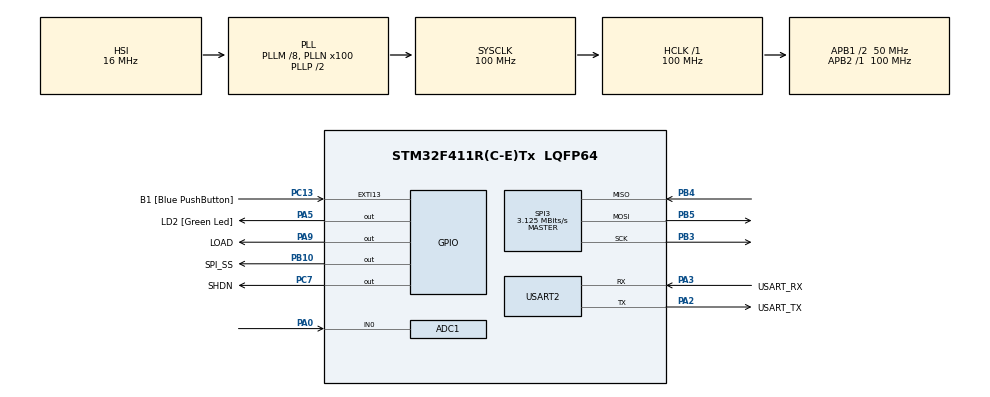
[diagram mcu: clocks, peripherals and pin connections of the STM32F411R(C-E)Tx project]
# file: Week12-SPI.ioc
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ADC1.Channel-0\#ChannelRegularConversion=ADC_CHANNEL_0
ADC1.Channel-1\#ChannelInjectedConversion=ADC_CHANNEL_0
ADC1.DMAContinuousRequests=ENABLE
ADC1.ExternalTrigConv=ADC_EXTERNALTRIGCONV_T3_TRGO
ADC1.InjNumberOfConversion=1
ADC1.InjectedOffset-1\#ChannelInjectedConversion=0
ADC1.InjectedRank-1\#ChannelInjectedConversion=1
ADC1.NbrOfConversionFlag=1
ADC1.Rank-0\#ChannelRegularConversion=1
ADC1.SamplingTime-0\#ChannelRegularConversion=ADC_SAMPLETIME_3CYCLES
ADC1.SamplingTime-1\#ChannelInjectedConversion=ADC_SAMPLETIME_3CYCLES
ADC1.ScanConvMode=ENABLE
ADC1.master=1
Dma.ADC1.0.Direction=DMA_PERIPH_TO_MEMORY
Dma.ADC1.0.FIFOMode=DMA_FIFOMODE_DISABLE
Dma.ADC1.0.Instance=DMA2_Stream0
Dma.ADC1.0.MemDataAlignment=DMA_MDATAALIGN_HALFWORD
Dma.ADC1.0.MemInc=DMA_MINC_ENABLE
Dma.ADC1.0.Mode=DMA_CIRCULAR
Dma.ADC1.0.PeriphDataAlignment=DMA_PDATAALIGN_HALFWORD
Dma.ADC1.0.PeriphInc=DMA_PINC_DISABLE
Dma.ADC1.0.Priority=DMA_PRIORITY_LOW
Dma.Request0=ADC1
Mcu.Family=STM32F4
Mcu.Name=STM32F411R(C-E)Tx
Mcu.Package=LQFP64
NVIC.ADC_IRQn=true\:0\:0\:false\:false\:true\:true\:true
NVIC.DMA2_Stream0_IRQn=true\:0\:0\:false\:false\:true\:false\:true
NVIC.PriorityGroup=NVIC_PRIORITYGROUP_0
NVIC.SPI3_IRQn=true\:0\:0\:false\:false\:true\:true\:true
NVIC.TIM1_TRG_COM_TIM11_IRQn=true\:0\:0\:false\:false\:true\:true\:true
NVIC.USART2_IRQn=true\:0\:0\:false\:false\:true\:true\:true
PA0-WKUP.Signal=ADCx_IN0
PA13.GPIO_Label=TMS
PA13.Mode=Serial_Wire
PA13.Signal=SYS_JTMS-SWDIO
PA14.GPIO_Label=TCK
PA14.Mode=Serial_Wire
PA14.Signal=SYS_JTCK-SWCLK
PA2.GPIO_Label=USART_TX
PA2.Mode=Asynchronous
PA2.Signal=USART2_TX
PA3.GPIO_Label=USART_RX
PA3.Mode=Asynchronous
PA3.Signal=USART2_RX
PA5.GPIO_Label=LD2 [Green Led]
PA5.Signal=GPIO_Output
PA9.GPIO_Label=LOAD
PA9.PinState=GPIO_PIN_SET
PA9.Signal=GPIO_Output
PB10.GPIO_Label=SPI_SS
PB10.PinState=GPIO_PIN_SET
PB10.Signal=GPIO_Output
PB3.Mode=Full_Duplex_Master
PB3.Signal=SPI3_SCK
PB4.Mode=Full_Duplex_Master
PB4.Signal=SPI3_MISO
PB5.Mode=Full_Duplex_Master
PB5.Signal=SPI3_MOSI
PC13-ANTI_TAMP.GPIO_Label=B1 [Blue PushButton]
PC13-ANTI_TAMP.GPIO_ModeDefaultEXTI=GPIO_MODE_IT_FALLING
PC13-ANTI_TAMP.Signal=GPXTI13
PC14-OSC32_IN.Mode=LSE-External-Oscillator
PC14-OSC32_IN.Signal=RCC_OSC32_IN
PC15-OSC32_OUT.Mode=LSE-External-Oscillator
PC15-OSC32_OUT.Signal=RCC_OSC32_OUT
PC7.GPIO_Label=SHDN
PC7.PinState=GPIO_PIN_SET
PC7.Signal=GPIO_Output
PH0\ -\ OSC_IN.Mode=HSE-External-Clock-Source
PH0\ -\ OSC_IN.Signal=RCC_OSC_IN
PH1\ -\ OSC_OUT.Mode=HSE-External-Clock-Source
PH1\ -\ OSC_OUT.Signal=RCC_OSC_OUT
ProjectManager.HeapSize=0x200
ProjectManager.StackSize=0x400
ProjectManager.TargetToolchain=STM32CubeIDE
RCC.48MHZClocksFreq_Value=50000000
RCC.AHBFreq_Value=100000000
RCC.APB1CLKDivider=RCC_HCLK_DIV2
RCC.APB1Freq_Value=50000000
RCC.APB1TimFreq_Value=100000000
RCC.APB2Freq_Value=100000000
RCC.APB2TimFreq_Value=100000000
RCC.CortexFreq_Value=100000000
RCC.FLatency-AdvancedSettings=FLASH_LATENCY_3
RCC.HCLKFreq_Value=100000000
RCC.HSE_VALUE=8000000
RCC.HSI_VALUE=16000000
RCC.PLLM=8
RCC.PLLN=100
RCC.SYSCLKFreq_VALUE=100000000
RCC.SYSCLKSource=RCC_SYSCLKSOURCE_PLLCLK
RCC.VCOOutputFreq_Value=200000000
SH.ADCx_IN0.0=ADC1_IN0,IN0
SPI3.BaudRatePrescaler=SPI_BAUDRATEPRESCALER_16
SPI3.CalculateBaudRate=3.125 MBits/s
SPI3.DataSize=SPI_DATASIZE_16BIT
SPI3.Direction=SPI_DIRECTION_2LINES
SPI3.Mode=SPI_MODE_MASTER
SPI3.VirtualType=VM_MASTER
TIM11.Prescaler=99
TIM3.Period=100
TIM3.Prescaler=99
TIM3.TIM_MasterOutputTrigger=TIM_TRGO_UPDATE
USART2.VirtualMode=VM_ASYNC
VP_TIM11_VS_ClockSourceINT.Mode=Enable_Timer
VP_TIM3_VS_ClockSourceINT.Mode=Internal
board=NUCLEO-F411RE

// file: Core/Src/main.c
/* USER CODE BEGIN Header */
/**
 ******************************************************************************
 * @file           : main.c
 * @brief          : Main program body
 ******************************************************************************
 * @attention
 *
 * <h2><center>&copy; Copyright (c) 2021 STMicroelectronics.
 * All rights reserved.</center></h2>
 *
 * This software component is licensed by ST under BSD 3-Clause license,
 * the "License"; You may not use this file except in compliance with the
 * License. You may obtain a copy of the License at:
 *                        opensource.org/licenses/BSD-3-Clause
 *
 ******************************************************************************
 */
/* USER CODE END Header */
#include "main.h"

/* USER CODE BEGIN Includes */
#include "stdio.h"
#include "string.h"
#include <math.h>
/* USER CODE END Includes */

ADC_HandleTypeDef hadc1;
DMA_HandleTypeDef hdma_adc1;

SPI_HandleTypeDef hspi3;

TIM_HandleTypeDef htim3;
TIM_HandleTypeDef htim11;

UART_HandleTypeDef huart2;

/* USER CODE BEGIN PV */
uint16_t ADCin = 0;
uint64_t _micro = 0;
//data 12 bit
uint16_t dataOut = 0;
//config 4 bit
uint8_t DACConfig = 0b0011;
char TxDataBuffer[32] =	{ 0 };
char RxDataBuffer[32] =	{ 0 };
int Mode = -1;
int graph = 0;
float Volt_Out = 0;
float delta_Y = 0;
//set value
float Freq = 0.5;
float V_high = 3.3;
float V_low = 0;
float Duty = 0.5;
int slope = 1;
float T = 0;
float T1 = 0;
float t = 0;
/* USER CODE END PV */

void SystemClock_Config(void);
static void MX_GPIO_Init(void);
static void MX_DMA_Init(void);
static void MX_USART2_UART_Init(void);
static void MX_ADC1_Init(void);
static void MX_SPI3_Init(void);
static void MX_TIM3_Init(void);
static void MX_TIM11_Init(void);
/* USER CODE BEGIN PFP */
void MCP4922SetOutput(uint8_t Config, uint16_t DACOutput);
void Gen_Wave();
uint64_t micros();
int16_t UARTRecieveIT();
/* USER CODE END PFP */

int main(void)
{

  /* MCU Configuration--------------------------------------------------------*/

  /* Reset of all peripherals, Initializes the Flash interface and the Systick. */
  HAL_Init();

  /* Configure the system clock */
  SystemClock_Config();

  /* Initialize all configured peripherals */
  MX_GPIO_Init();
  MX_DMA_Init();
  MX_USART2_UART_Init();
  MX_ADC1_Init();
  MX_SPI3_Init();
  MX_TIM3_Init();
  MX_TIM11_Init();
  /* USER CODE BEGIN 2 */
	HAL_TIM_Base_Start(&htim3);
	HAL_TIM_Base_Start_IT(&htim11);
	HAL_ADC_Start_DMA(&hadc1, (uint32_t*) &ADCin, 1);

	HAL_GPIO_WritePin(LOAD_GPIO_Port, LOAD_Pin, GPIO_PIN_RESET);
	char temp[]="----Function_Gen----\r\n[1] Sawtooth_Wave..\r\n[2] Sine_Wave..\r\n[3] Square_Wave..\r\n" ;
	char temp1[]="...Sawtooh_Wave...\r\n[1] Frequency(hz)\r\n[2] V_high,V_low\r\n[3] Slope_up,Slope_down\r\n[x] Return menu\r\n";
	char temp2[]="...Sine_Wave...\r\n[1] Frequency(hz)\r\n[2] V_high,V_low\r\n[x] Return menu\r\n";
	char temp3[]="...Square_Wave...\r\n[1] Frequency(hz)\r\n[2] V_high,V_low\r\n[3] Duty cycle\r\n[x] Return menu\r\n";
	char temp4[]="...Set Hz value...\r\n[+] 0.1hz \r\n[-] 0.1hz\r\n[x] Back\r\n";
	char temp5[]="...Set Volt_high,low Value...\r\n[a]V_high+0.1 \r\n[b]V_high-0.1 \r\n[c]V_low+0.1 \r\n[d]V_low-0.1 \r\n[x] Back\r\n";
	char temp6[]="...Set Duty Value...\r\n[+]Duty0.1 \r\n[-]Duty0.1\r\n[x] Back\r\n";
	char temp7[]="Try again\r\n";

	HAL_UART_Transmit(&huart2, (uint8_t*)temp, strlen(temp),10);
  /* USER CODE END 2 */

  /* Infinite loop */
  /* USER CODE BEGIN WHILE */
	while (1)
	{
		static uint64_t timestamp = 0;
		if (micros() - timestamp > 100){ //10khz
			timestamp = micros();
			//dataOut++; output update value all time
			//dataOut %= 4096; 12bits
			Gen_Wave();
			if (hspi3.State == HAL_SPI_STATE_READY && HAL_GPIO_ReadPin(SPI_SS_GPIO_Port, SPI_SS_Pin) == GPIO_PIN_SET){
				MCP4922SetOutput(DACConfig, dataOut);
			}
		}
		HAL_UART_Receive_IT(&huart2,  (uint8_t*)RxDataBuffer, 32);
		int16_t inputchar = UARTRecieveIT();

	switch(Mode){
		case -1:
			switch(inputchar){
			case -1: //Main menu
				break;
			case 49:
				graph = 1;
				HAL_UART_Transmit(&huart2, (uint8_t*)temp1, strlen(temp1),10);
				Mode = 1;
				break;
			case 50:
				graph = 2;
				HAL_UART_Transmit(&huart2, (uint8_t*)temp2, strlen(temp2),10);
				Mode = 2;
				break;
			case 51:
				graph = 3;
				HAL_UART_Transmit(&huart2, (uint8_t*)temp3, strlen(temp3),10);
				Mode = 3;
				break;
			default:
				HAL_UART_Transmit(&huart2, (uint8_t*)temp7, strlen(temp7),10);
				HAL_UART_Transmit(&huart2, (uint8_t*)temp, strlen(temp),10);
				break;
			}
			break;
		case 1: //Sawtooth wave
			switch(inputchar){
			case -1:
				break;
			case 49: //1,+-hz
				HAL_UART_Transmit(&huart2, (uint8_t*)temp4, strlen(temp4),10);
				Mode = -2;

				break;
			case 50: //2,+-v
				HAL_UART_Transmit(&huart2, (uint8_t*)temp5, strlen(temp5),10);
				Mode = -3;

				break;
			case 51: //3,type slope
				if(slope == 1){
					slope ++;
				}
				else{
					slope = 1;
				}

				break;
			case 120: //x menu
				HAL_UART_Transmit(&huart2, (uint8_t*)temp, strlen(temp),10);
				graph = 0;
				Mode =-1;
				break;
			default:
				HAL_UART_Transmit(&huart2, (uint8_t*)temp7, strlen(temp7),10);
				HAL_UART_Transmit(&huart2, (uint8_t*)temp1, strlen(temp1),10);
				break;
			}
			break;
		case 2: //Sine wave
			switch(inputchar){
			case -1:
				break;
			case 49: //1,+-hz
				HAL_UART_Transmit(&huart2, (uint8_t*)temp4, strlen(temp4),10);
				Mode = -2;

				break;
			case 50: //2,+-v
				HAL_UART_Transmit(&huart2, (uint8_t*)temp5, strlen(temp5),10);
				Mode = -3;

				break;
			case 120: //x menu
				HAL_UART_Transmit(&huart2, (uint8_t*)temp, strlen(temp),10);
				graph = 0;
				Mode =-1;
				break;
			default:
				HAL_UART_Transmit(&huart2, (uint8_t*)temp7, strlen(temp7),10);
				HAL_UART_Transmit(&huart2, (uint8_t*)temp2, strlen(temp2),10);
				break;
			}
			break;
		case 3: //Square_wave
			switch(inputchar){
			case -1:
				break;
			case 49: //1,+-hz
				HAL_UART_Transmit(&huart2, (uint8_t*)temp4, strlen(temp4),10);
				Mode = -2;

				break;
			case 50: //2,+-v
				HAL_UART_Transmit(&huart2, (uint8_t*)temp5, strlen(temp5),10);
				Mode = -3;

				break;
			case 51: //3,+-Duty
				HAL_UART_Transmit(&huart2, (uint8_t*)temp6, strlen(temp6),10);
				Mode = -4;
				break;
			case 120: //x menu
				HAL_UART_Transmit(&huart2, (uint8_t*)temp, strlen(temp),10);
				graph = 0;
				Mode =-1;
				break;
			default:
				HAL_UART_Transmit(&huart2, (uint8_t*)temp7, strlen(temp7),10);
				HAL_UART_Transmit(&huart2, (uint8_t*)temp3, strlen(temp3),10);
				break;
			}
			break;
		case -2: //Set hz value
			switch(inputchar){
				case -1:
					break;
				case 43: //+
					Freq += 0.1;
					break;
				case 45: //-
					if(Freq > 0){
						Freq -= 0.1;
					}
					else{
						Freq = 0;
					}
					break;
				case 120: //x menu
					if(graph == 1){
						HAL_UART_Transmit(&huart2, (uint8_t*)temp1, strlen(temp1),10);
						Mode = 1;
					}
					if(graph == 2){
						HAL_UART_Transmit(&huart2, (uint8_t*)temp2, strlen(temp2),10);
						Mode = 2;
					}
					if(graph == 3){
						HAL_UART_Transmit(&huart2, (uint8_t*)temp3, strlen(temp3),10);
						Mode = 3;
					}
					break;
				default:
					HAL_UART_Transmit(&huart2, (uint8_t*)temp7, strlen(temp7),10);
					HAL_UART_Transmit(&huart2, (uint8_t*)temp4, strlen(temp4),10);
					break;
			}
			break;
		case -3: //Set volt value
			switch(inputchar){
			case -1:
				break;
			case 97: //a,v_high+
				if(V_high<3.29){
					V_high += 0.1;
				}
				else{
					V_high = 3.3;
				}
				break;
			case 98: //b,v_high-
				V_high -= 0.1;
				if(V_high<=0){
					V_high = 0;
				}
				break;
			case 99: //c,v_low+
				if(V_low<3.29){
					V_low += 0.1;
				}
				else{
					V_low = 3.3;
				}

				break;
			case 100: //d,v_low-
				V_low -= 0.1;
				if(V_low<=0){
					V_low = 0;
				}

				break;
			case 120: //x menu
				if(graph == 1){
					HAL_UART_Transmit(&huart2, (uint8_t*)temp1, strlen(temp1),10);
					Mode = 1;
				}
				if(graph == 2){
					HAL_UART_Transmit(&huart2, (uint8_t*)temp2, strlen(temp2),10);
					Mode = 2;
				}
				if(graph == 3){
					HAL_UART_Transmit(&huart2, (uint8_t*)temp3, strlen(temp3),10);
					Mode = 3;
				}

				break;
			default:
				HAL_UART_Transmit(&huart2, (uint8_t*)temp7, strlen(temp7),10);
				HAL_UART_Transmit(&huart2, (uint8_t*)temp5, strlen(temp5),10);
				break;
			}
			break;
		case -4: //Set duty value
			switch(inputchar){
			case -1:
				break;
			case 43: //1,+
				if(Duty < 0.99){
					Duty += 0.1 ;
				}
				else{
					Duty = 1.0;
				}
				break;
			case 45: //2,-
				if(Duty > 0){
					Duty -= 0.1;
				}
				else{
					Duty = 0;
				}
				break;
			case 120: //x menu
				if(graph== 1){
					HAL_UART_Transmit(&huart2, (uint8_t*)temp1, strlen(temp1),10);
					Mode = 1;
				}
				if(graph == 2){
					HAL_UART_Transmit(&huart2, (uint8_t*)temp2, strlen(temp2),10);
					Mode = 2;
				}
				if(graph == 3){
					HAL_UART_Transmit(&huart2, (uint8_t*)temp3, strlen(temp3),10);
					Mode = 3;
				}
				break;
			default:
				HAL_UART_Transmit(&huart2, (uint8_t*)temp7, strlen(temp7),10);
				HAL_UART_Transmit(&huart2, (uint8_t*)temp6, strlen(temp6),10);
				break;
			}
			break;

		}

    /* USER CODE END WHILE */

	}
}

void SystemClock_Config(void)
{
  RCC_OscInitTypeDef RCC_OscInitStruct = {0};
  RCC_ClkInitTypeDef RCC_ClkInitStruct = {0};

  /** Configure the main internal regulator output voltage
  */
  __HAL_RCC_PWR_CLK_ENABLE();
  __HAL_PWR_VOLTAGESCALING_CONFIG(PWR_REGULATOR_VOLTAGE_SCALE1);
  /** Initializes the RCC Oscillators according to the specified parameters
  * in the RCC_OscInitTypeDef structure.
  */
  RCC_OscInitStruct.OscillatorType = RCC_OSCILLATORTYPE_HSI;
  RCC_OscInitStruct.HSIState = RCC_HSI_ON;
  RCC_OscInitStruct.HSICalibrationValue = RCC_HSICALIBRATION_DEFAULT;
  RCC_OscInitStruct.PLL.PLLState = RCC_PLL_ON;
  RCC_OscInitStruct.PLL.PLLSource = RCC_PLLSOURCE_HSI;
  RCC_OscInitStruct.PLL.PLLM = 8;
  RCC_OscInitStruct.PLL.PLLN = 100;
  RCC_OscInitStruct.PLL.PLLP = RCC_PLLP_DIV2;
  RCC_OscInitStruct.PLL.PLLQ = 4;
  if (HAL_RCC_OscConfig(&RCC_OscInitStruct) != HAL_OK)
  {
    Error_Handler();
  }
  /** Initializes the CPU, AHB and APB buses clocks
  */
  RCC_ClkInitStruct.ClockType = RCC_CLOCKTYPE_HCLK|RCC_CLOCKTYPE_SYSCLK
                              |RCC_CLOCKTYPE_PCLK1|RCC_CLOCKTYPE_PCLK2;
  RCC_ClkInitStruct.SYSCLKSource = RCC_SYSCLKSOURCE_PLLCLK;
  RCC_ClkInitStruct.AHBCLKDivider = RCC_SYSCLK_DIV1;
  RCC_ClkInitStruct.APB1CLKDivider = RCC_HCLK_DIV2;
  RCC_ClkInitStruct.APB2CLKDivider = RCC_HCLK_DIV1;

  if (HAL_RCC_ClockConfig(&RCC_ClkInitStruct, FLASH_LATENCY_3) != HAL_OK)
  {
    Error_Handler();
  }
}

static void MX_ADC1_Init(void)
{

  ADC_ChannelConfTypeDef sConfig = {0};
  ADC_InjectionConfTypeDef sConfigInjected = {0};

  /** Configure the global features of the ADC (Clock, Resolution, Data Alignment and number of conversion)
  */
  hadc1.Instance = ADC1;
  hadc1.Init.ClockPrescaler = ADC_CLOCK_SYNC_PCLK_DIV4;
  hadc1.Init.Resolution = ADC_RESOLUTION_12B;
  hadc1.Init.ScanConvMode = ENABLE;
  hadc1.Init.ContinuousConvMode = DISABLE;
  hadc1.Init.DiscontinuousConvMode = DISABLE;
  hadc1.Init.ExternalTrigConvEdge = ADC_EXTERNALTRIGCONVEDGE_RISING;
  hadc1.Init.ExternalTrigConv = ADC_EXTERNALTRIGCONV_T3_TRGO;
  hadc1.Init.DataAlign = ADC_DATAALIGN_RIGHT;
  hadc1.Init.NbrOfConversion = 1;
  hadc1.Init.DMAContinuousRequests = ENABLE;
  hadc1.Init.EOCSelection = ADC_EOC_SINGLE_CONV;
  if (HAL_ADC_Init(&hadc1) != HAL_OK)
  {
    Error_Handler();
  }
  /** Configure for the selected ADC regular channel its corresponding rank in the sequencer and its sample time.
  */
  sConfig.Channel = ADC_CHANNEL_0;
  sConfig.Rank = 1;
  sConfig.SamplingTime = ADC_SAMPLETIME_3CYCLES;
  if (HAL_ADC_ConfigChannel(&hadc1, &sConfig) != HAL_OK)
  {
    Error_Handler();
  }
  /** Configures for the selected ADC injected channel its corresponding rank in the sequencer and its sample time
  */
  sConfigInjected.InjectedChannel = ADC_CHANNEL_0;
  sConfigInjected.InjectedRank = 1;
  sConfigInjected.InjectedNbrOfConversion = 1;
  sConfigInjected.InjectedSamplingTime = ADC_SAMPLETIME_3CYCLES;
  sConfigInjected.ExternalTrigInjecConvEdge = ADC_EXTERNALTRIGINJECCONVEDGE_NONE;
  sConfigInjected.ExternalTrigInjecConv = ADC_INJECTED_SOFTWARE_START;
  sConfigInjected.AutoInjectedConv = DISABLE;
  sConfigInjected.InjectedDiscontinuousConvMode = DISABLE;
  sConfigInjected.InjectedOffset = 0;
  if (HAL_ADCEx_InjectedConfigChannel(&hadc1, &sConfigInjected) != HAL_OK)
  {
    Error_Handler();
  }

}

static void MX_SPI3_Init(void)
{

  /* SPI3 parameter configuration*/
  hspi3.Instance = SPI3;
  hspi3.Init.Mode = SPI_MODE_MASTER;
  hspi3.Init.Direction = SPI_DIRECTION_2LINES;
  hspi3.Init.DataSize = SPI_DATASIZE_16BIT;
  hspi3.Init.CLKPolarity = SPI_POLARITY_LOW;
  hspi3.Init.CLKPhase = SPI_PHASE_1EDGE;
  hspi3.Init.NSS = SPI_NSS_SOFT;
  hspi3.Init.BaudRatePrescaler = SPI_BAUDRATEPRESCALER_16;
  hspi3.Init.FirstBit = SPI_FIRSTBIT_MSB;
  hspi3.Init.TIMode = SPI_TIMODE_DISABLE;
  hspi3.Init.CRCCalculation = SPI_CRCCALCULATION_DISABLE;
  hspi3.Init.CRCPolynomial = 10;
  if (HAL_SPI_Init(&hspi3) != HAL_OK)
  {
    Error_Handler();
  }

}

static void MX_TIM3_Init(void)
{

  TIM_ClockConfigTypeDef sClockSourceConfig = {0};
  TIM_MasterConfigTypeDef sMasterConfig = {0};

  htim3.Instance = TIM3;
  htim3.Init.Prescaler = 99;
  htim3.Init.CounterMode = TIM_COUNTERMODE_UP;
  htim3.Init.Period = 100;
  htim3.Init.ClockDivision = TIM_CLOCKDIVISION_DIV1;
  htim3.Init.AutoReloadPreload = TIM_AUTORELOAD_PRELOAD_DISABLE;
  if (HAL_TIM_Base_Init(&htim3) != HAL_OK)
  {
    Error_Handler();
  }
  sClockSourceConfig.ClockSource = TIM_CLOCKSOURCE_INTERNAL;
  if (HAL_TIM_ConfigClockSource(&htim3, &sClockSourceConfig) != HAL_OK)
  {
    Error_Handler();
  }
  sMasterConfig.MasterOutputTrigger = TIM_TRGO_UPDATE;
  sMasterConfig.MasterSlaveMode = TIM_MASTERSLAVEMODE_DISABLE;
  if (HAL_TIMEx_MasterConfigSynchronization(&htim3, &sMasterConfig) != HAL_OK)
  {
    Error_Handler();
  }

}

static void MX_TIM11_Init(void)
{

  htim11.Instance = TIM11;
  htim11.Init.Prescaler = 99;
  htim11.Init.CounterMode = TIM_COUNTERMODE_UP;
  htim11.Init.Period = 65535;
  htim11.Init.ClockDivision = TIM_CLOCKDIVISION_DIV1;
  htim11.Init.AutoReloadPreload = TIM_AUTORELOAD_PRELOAD_DISABLE;
  if (HAL_TIM_Base_Init(&htim11) != HAL_OK)
  {
    Error_Handler();
  }

}

static void MX_USART2_UART_Init(void)
{

  huart2.Instance = USART2;
  huart2.Init.BaudRate = 115200;
  huart2.Init.WordLength = UART_WORDLENGTH_8B;
  huart2.Init.StopBits = UART_STOPBITS_1;
  huart2.Init.Parity = UART_PARITY_NONE;
  huart2.Init.Mode = UART_MODE_TX_RX;
  huart2.Init.HwFlowCtl = UART_HWCONTROL_NONE;
  huart2.Init.OverSampling = UART_OVERSAMPLING_16;
  if (HAL_UART_Init(&huart2) != HAL_OK)
  {
    Error_Handler();
  }

}

static void MX_DMA_Init(void)
{

  /* DMA controller clock enable */
  __HAL_RCC_DMA2_CLK_ENABLE();

  /* DMA interrupt init */
  /* DMA2_Stream0_IRQn interrupt configuration */
  HAL_NVIC_SetPriority(DMA2_Stream0_IRQn, 0, 0);
  HAL_NVIC_EnableIRQ(DMA2_Stream0_IRQn);

}

static void MX_GPIO_Init(void)
{
  GPIO_InitTypeDef GPIO_InitStruct = {0};

  /* GPIO Ports Clock Enable */
  __HAL_RCC_GPIOC_CLK_ENABLE();
  __HAL_RCC_GPIOH_CLK_ENABLE();
  __HAL_RCC_GPIOA_CLK_ENABLE();
  __HAL_RCC_GPIOB_CLK_ENABLE();

  /*Configure GPIO pin Output Level */
  HAL_GPIO_WritePin(LD2_GPIO_Port, LD2_Pin, GPIO_PIN_RESET);

  /*Configure GPIO pin Output Level */
  HAL_GPIO_WritePin(SPI_SS_GPIO_Port, SPI_SS_Pin, GPIO_PIN_SET);

  /*Configure GPIO pin Output Level */
  HAL_GPIO_WritePin(SHDN_GPIO_Port, SHDN_Pin, GPIO_PIN_SET);

  /*Configure GPIO pin Output Level */
  HAL_GPIO_WritePin(LOAD_GPIO_Port, LOAD_Pin, GPIO_PIN_SET);

  /*Configure GPIO pin : B1_Pin */
  GPIO_InitStruct.Pin = B1_Pin;
  GPIO_InitStruct.Mode = GPIO_MODE_IT_FALLING;
  GPIO_InitStruct.Pull = GPIO_NOPULL;
  HAL_GPIO_Init(B1_GPIO_Port, &GPIO_InitStruct);

  /*Configure GPIO pins : LD2_Pin LOAD_Pin */
  GPIO_InitStruct.Pin = LD2_Pin|LOAD_Pin;
  GPIO_InitStruct.Mode = GPIO_MODE_OUTPUT_PP;
  GPIO_InitStruct.Pull = GPIO_NOPULL;
  GPIO_InitStruct.Speed = GPIO_SPEED_FREQ_LOW;
  HAL_GPIO_Init(GPIOA, &GPIO_InitStruct);

  /*Configure GPIO pin : SPI_SS_Pin */
  GPIO_InitStruct.Pin = SPI_SS_Pin;
  GPIO_InitStruct.Mode = GPIO_MODE_OUTPUT_PP;
  GPIO_InitStruct.Pull = GPIO_NOPULL;
  GPIO_InitStruct.Speed = GPIO_SPEED_FREQ_LOW;
  HAL_GPIO_Init(SPI_SS_GPIO_Port, &GPIO_InitStruct);

  /*Configure GPIO pin : SHDN_Pin */
  GPIO_InitStruct.Pin = SHDN_Pin;
  GPIO_InitStruct.Mode = GPIO_MODE_OUTPUT_PP;
  GPIO_InitStruct.Pull = GPIO_NOPULL;
  GPIO_InitStruct.Speed = GPIO_SPEED_FREQ_LOW;
  HAL_GPIO_Init(SHDN_GPIO_Port, &GPIO_InitStruct);

}

/* USER CODE BEGIN 4 */

void Gen_Wave(){
	T = 1/Freq;
	t += 0.001;
	delta_Y = V_high-V_low;
	//duty cycle
	T1 = T*Duty;
	switch(graph){
	case 1: //sawtooth wave
		if(t<=T){
			if(slope == 1){
				dataOut = (((delta_Y / T)*t)+V_low)*4096.0/3.3;
			}
			else{
				dataOut = (((V_low-V_high/ T)*t)+V_high)*4096.0/3.3;
			}
		}
		else{
			t = 0;
		}
		break;

	case 2: //sine wave
		dataOut = ((delta_Y/2)*sin(2*M_PI*Freq*t)+((V_high+V_low)*0.5))*4096.0/3.3;
		break;
	case 3: //square wave
		if(t <= T1){
			dataOut = V_high*4096.0/3.3;
		}
		else if((t <= T) && (t > T1)){
			dataOut = V_low*4096.0/3.3;
		}
		else{
			t = 0;
		}
		break;
	}
}

void MCP4922SetOutput(uint8_t Config, uint16_t DACOutput)
{
	uint32_t OutputPacket = (DACOutput & 0x0fff) | ((Config & 0xf) << 12);
	HAL_GPIO_WritePin(SPI_SS_GPIO_Port, SPI_SS_Pin, GPIO_PIN_RESET);
	HAL_SPI_Transmit_IT(&hspi3, &OutputPacket, 1);
}

void HAL_SPI_TxCpltCallback(SPI_HandleTypeDef *hspi)
{
	if (hspi == &hspi3)
	{
		HAL_GPIO_WritePin(SPI_SS_GPIO_Port, SPI_SS_Pin, GPIO_PIN_SET);
	}
}

void HAL_TIM_PeriodElapsedCallback(TIM_HandleTypeDef *htim)
{
	if (htim == &htim11)
	{
		_micro += 65535;
	}
}
int16_t UARTRecieveIT()
{
	static uint32_t dataPos =0;
	int16_t data=-1;
	if(huart2.RxXferSize - huart2.RxXferCount!=dataPos)
	{
		data=RxDataBuffer[dataPos];
		dataPos= (dataPos+1)%huart2.RxXferSize;
	}
	return data;
}

void HAL_UART_RxCpltCallback(UART_HandleTypeDef *huart)
{
	sprintf(TxDataBuffer, "Received:[%s]\r\n", RxDataBuffer);
	HAL_UART_Transmit(&huart2, (uint8_t*)TxDataBuffer, strlen(TxDataBuffer), 1000);
}
inline uint64_t micros()
{
	return htim11.Instance->CNT + _micro;
}
/* USER CODE END 4 */

void Error_Handler(void)
{
	__disable_irq();
	while (1)
	{
	}
}

/************************ (C) COPYRIGHT STMicroelectronics *****END OF FILE****/
